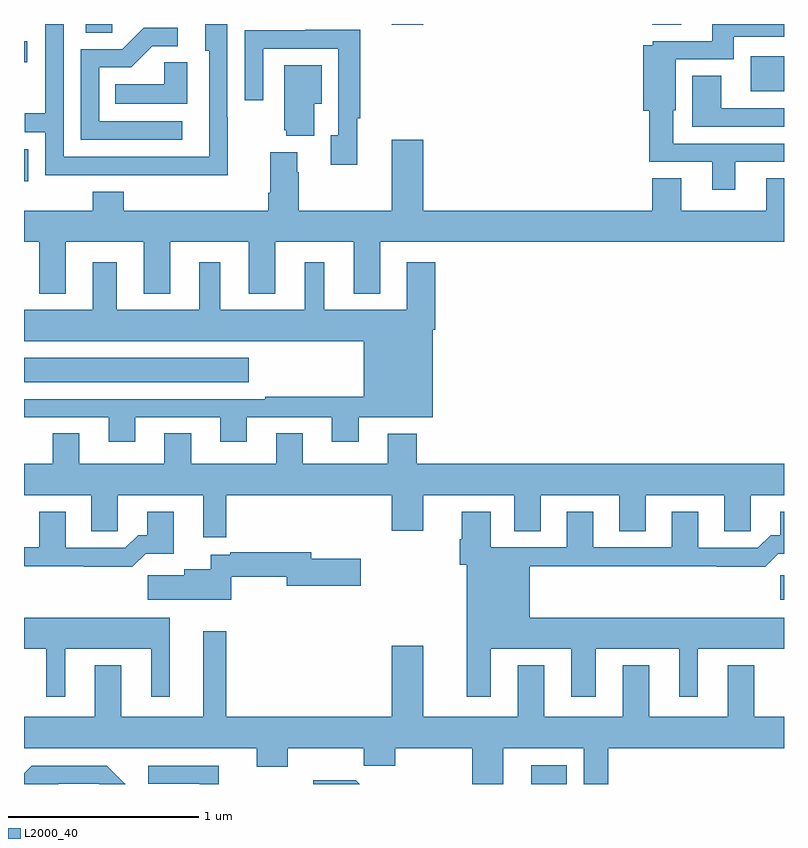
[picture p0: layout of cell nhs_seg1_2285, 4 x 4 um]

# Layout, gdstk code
import gdstk
lib = gdstk.Library(unit=1e-6, precision=1e-09)
def R(c, l, rs):  # rectangles x0, y0, x1, y1
    for r in rs: c.add(gdstk.rectangle(r[:2], r[2:], *l))
def P(c, l, *ps):  # polygons
    for p in ps: c.add(gdstk.Polygon(p, *l))
L2000_40 = (2000, 40)

nhs_seg1_2285 = lib.new_cell('nhs_seg1_2285')
R(nhs_seg1_2285, L2000_40, [(237.671,562.199,237.856,562.297), (238.98,563.168,239,563.297), (235,564.314,236.182,564.442), (235,565.371,235.023,565.539), (238.826,565.844,239,566.029), (235,565.997,235.018,566.107), (235.325,566.152,235.464,566.199), (238.307,566.194,238.459,566.199), (236.936,566.196,237.1,566.199)])
P(nhs_seg1_2285, L2000_40, [(236.073,565.709),(236.07,565.709),(236.07,566.199),(235.955,566.199),(235.955,566.058),(235.974,566.058),(235.974,565.5),(235.209,565.5),(235.209,566.199),(235.113,566.199),(235.113,565.73),(235.003,565.73),(235.003,565.629),(235.113,565.629),(235.113,565.404),(235.609,565.404),(235.609,565.403),(236.073,565.403)],
  [(238.744,565.473),(239,565.473),(239,565.569),(238.417,565.569),(238.417,565.746),(238.429,565.746),(238.429,566.013),(238.735,566.013),(238.735,566.133),(239,566.133),(239,566.199),(238.622,566.199),(238.622,566.109),(238.308,566.109),(238.308,566.086),(238.259,566.086),(238.259,565.742),(238.292,565.742),(238.292,565.473),(238.622,565.473),(238.622,565.326),(238.744,565.326)],
  [(235.834,565.686),(235.395,565.686),(235.395,565.971),(235.564,565.971),(235.675,566.082),(235.81,566.082),(235.81,566.18),(235.631,566.18),(235.518,566.067),(235.299,566.067),(235.299,565.59),(235.834,565.59)],
  [(236.753,565.702),(236.771,565.702),(236.771,566.168),(236.479,566.168),(236.479,566.166),(236.163,566.166),(236.163,565.797),(236.259,565.797),(236.259,566.07),(236.655,566.07),(236.655,565.614),(236.615,565.614),(236.615,565.458),(236.753,565.458)],
  [(235.858,565.997),(235.737,565.997),(235.737,565.882),(235.48,565.882),(235.48,565.778),(235.858,565.778)],
  [(236.527,565.778),(236.566,565.778),(236.566,565.981),(236.369,565.981),(236.369,565.641),(236.381,565.641),(236.381,565.61),(236.527,565.61)],
  [(239,565.755),(238.669,565.755),(238.669,565.927),(238.517,565.927),(238.517,565.659),(239,565.659)],
  [(235.219,565.052),(235.631,565.052),(235.631,564.779),(235.771,564.779),(235.771,565.052),(236.183,565.052),(236.183,564.779),(236.323,564.779),(236.323,565.052),(236.735,565.052),(236.735,564.779),(236.875,564.779),(236.875,565.052),(239,565.052),(239,565.388),(238.907,565.388),(238.907,565.216),(238.459,565.216),(238.459,565.388),(238.307,565.388),(238.307,565.216),(237.1,565.216),(237.1,565.591),(236.936,565.591),(236.936,565.216),(236.445,565.216),(236.445,565.418),(236.437,565.418),(236.437,565.525),(236.297,565.525),(236.297,565.312),(236.285,565.312),(236.285,565.216),(235.526,565.216),(235.526,565.315),(235.361,565.315),(235.361,565.216),(235,565.216),(235,565.052),(235.079,565.052),(235.079,564.779),(235.219,564.779)],
  [(235.585,564.129),(236.033,564.129),(236.033,564),(236.173,564),(236.173,564.129),(236.621,564.129),(236.621,564),(236.761,564),(236.761,564.128),(237.151,564.128),(237.151,564.59),(237.164,564.59),(237.164,564.946),(237.014,564.946),(237.014,564.694),(236.581,564.694),(236.581,564.946),(236.477,564.946),(236.477,564.694),(236.032,564.694),(236.032,564.946),(235.922,564.946),(235.922,564.694),(235.489,564.694),(235.489,564.946),(235.361,564.946),(235.361,564.694),(235,564.694),(235,564.53),(236.789,564.53),(236.789,564.238),(236.269,564.238),(236.269,564.225),(235,564.225),(235,564.129),(235.445,564.129),(235.445,564),(235.585,564)],
  [(236.065,563.72),(236.936,563.72),(236.936,563.532),(237.1,563.532),(237.1,563.72),(237.581,563.72),(237.581,563.53),(237.721,563.53),(237.721,563.72),(238.133,563.72),(238.133,563.53),(238.273,563.53),(238.273,563.72),(238.685,563.72),(238.685,563.53),(238.824,563.53),(238.824,563.72),(239,563.72),(239,563.884),(237.068,563.884),(237.068,564.043),(236.915,564.043),(236.915,563.884),(236.467,563.884),(236.467,564.044),(236.327,564.044),(236.327,563.884),(235.879,563.884),(235.879,564.044),(235.739,564.044),(235.739,563.884),(235.291,563.884),(235.291,564.044),(235.151,564.044),(235.151,563.884),(235,563.884),(235,563.72),(235.355,563.72),(235.355,563.53),(235.494,563.53),(235.494,563.72),(235.943,563.72),(235.943,563.499),(236.065,563.499)],
  [(235.64,563.411),(235.789,563.411),(235.789,563.632),(235.649,563.632),(235.649,563.509),(235.6,563.509),(235.533,563.442),(235.219,563.442),(235.219,563.632),(235.079,563.632),(235.079,563.445),(235,563.445),(235,563.344),(235.315,563.344),(235.315,563.342),(235.571,563.342)],
  [(237.457,562.91),(237.881,562.91),(237.881,562.659),(238.009,562.659),(238.009,562.91),(238.448,562.91),(238.448,562.659),(238.546,562.659),(238.546,562.91),(239,562.91),(239,563.074),(237.661,563.074),(237.661,563.344),(238.645,563.344),(238.645,563.342),(238.901,563.342),(238.971,563.412),(239,563.412),(239,563.632),(238.979,563.632),(238.979,563.509),(238.93,563.509),(238.863,563.442),(238.549,563.442),(238.549,563.632),(238.409,563.632),(238.409,563.445),(237.997,563.445),(237.997,563.632),(237.857,563.632),(237.857,563.445),(237.457,563.445),(237.457,563.632),(237.305,563.632),(237.305,563.486),(237.293,563.486),(237.293,563.352),(237.329,563.352),(237.329,562.659),(237.457,562.659)],
  [(236.092,563.29),(236.384,563.29),(236.384,563.243),(236.773,563.243),(236.773,563.385),(236.512,563.385),(236.512,563.419),(236.086,563.419),(236.086,563.406),(235.982,563.406),(235.982,563.329),(235.844,563.329),(235.844,563.297),(235.65,563.297),(235.65,563.168),(236.092,563.168)],
  [(235.216,562.91),(235.67,562.91),(235.67,562.659),(235.768,562.659),(235.768,563.074),(235,563.074),(235,562.91),(235.118,562.91),(235.118,562.659),(235.216,562.659)],
  [(237.523,562.388),(237.947,562.388),(237.947,562.199),(238.076,562.199),(238.076,562.388),(239,562.388),(239,562.552),(238.843,562.552),(238.843,562.825),(238.703,562.825),(238.703,562.552),(238.291,562.552),(238.291,562.825),(238.151,562.825),(238.151,562.552),(237.739,562.552),(237.739,562.825),(237.599,562.825),(237.599,562.552),(237.1,562.552),(237.1,562.927),(236.936,562.927),(236.936,562.552),(236.065,562.552),(236.065,563.002),(235.943,563.002),(235.943,562.552),(235.513,562.552),(235.513,562.825),(235.373,562.825),(235.373,562.552),(235,562.552),(235,562.388),(236.225,562.388),(236.225,562.289),(236.389,562.289),(236.389,562.388),(236.789,562.388),(236.789,562.295),(236.953,562.295),(236.953,562.388),(237.359,562.388),(237.359,562.199),(237.523,562.199)],
  [(236.024,562.296),(235.653,562.296),(235.653,562.2),(235.926,562.2),(235.926,562.199),(236.024,562.199)],
  [(235.18,562.2),(235.395,562.2),(235.396,562.199),(235.534,562.199),(235.532,562.201),(235.531,562.2),(235.435,562.296),(235.041,562.296),(235,562.255),(235,562.199),(235.18,562.199)],
  [(236.747,562.219),(236.523,562.219),(236.523,562.199),(236.767,562.199)])

lib.write_gds('nhs_seg1_2285.gds')
